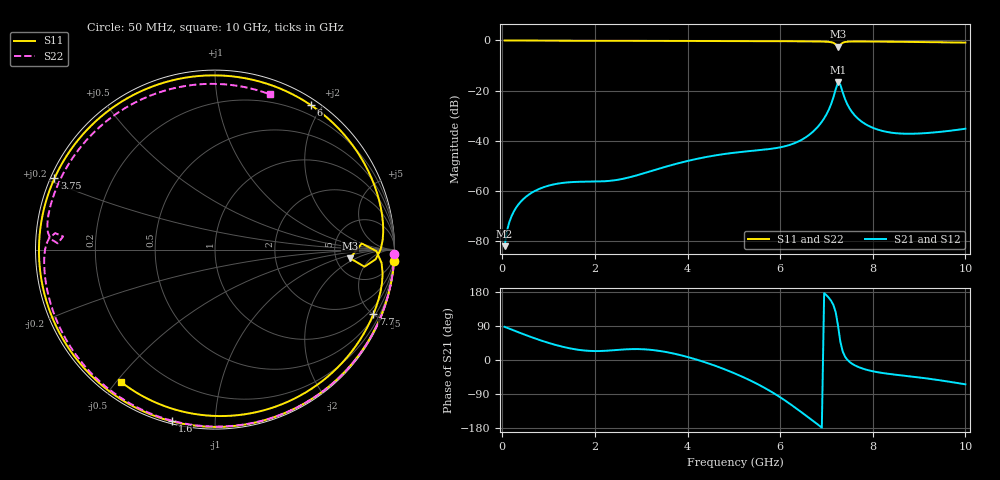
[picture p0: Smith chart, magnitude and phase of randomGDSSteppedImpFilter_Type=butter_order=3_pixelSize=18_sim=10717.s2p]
! freq	dB(S11)	phase(S11)	dB(S12)	phase(S12)
!  dB(S21)	phase(S21)	dB(S22)	phase(S22)
!S-par simulation data
#  GHz  S  DB  R 50
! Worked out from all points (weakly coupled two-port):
!   200 points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, 50 MHz to 10 GHz, reference 50 ohm
!   highest |S21| = -16.70 dB at 7.25 GHz (marker M1); lowest = -82.0 dB at 50 MHz (marker M2)
!   lowest |S11| = -2.5 dB at 7.25 GHz (marker M3), VSWR 7.11, Z = 339 - j75.2 ohm
!   |S11| at or under -10 dB: nowhere
!   |S22| runs from -1.4 to 0.0 dB; largest |S21 - S12| = 0
!   S11 on the Smith chart (normalised r, x): 50 MHz: 0, -32; 1.6 GHz: 0.01, -0.78; 3.75 GHz: 0.01, +0.21; 6 GHz: 0.08, +1.87; 7.7 GHz: 0.64, -5.03; 10 GHz: 0.06, -0.52
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0.05  -0.00 -3.6  -81.97 87.5  -81.97 87.5  -0.00 -1.3
0.2  -0.02 -14.4  -70.00 80.3  -70.00 80.3  -0.01 -5.2
0.5  -0.05 -35.4  -62.46 66.1  -62.46 66.1  -0.02 -13.0
1.05  -0.09 -71.7  -57.61 43.3  -57.61 43.3  -0.03 -27.2
1.6  -0.12 -104.1  -56.35 27.7  -56.35 27.7  -0.05 -41.3
1.75  -0.12 -112.3  -56.28 25.3  -56.28 25.3  -0.06 -45.0
2.55  -0.15 -151.8  -55.33 27.2  -55.33 27.2  -0.08 -65.0
3.4  -0.18 170.9  -51.00 23.9  -51.00 23.9  -0.11 -85.8
3.75  -0.19 156.0  -49.18 15.6  -49.18 15.6  -0.13 -94.2
4.45  -0.22 126.3  -46.27 -8.9  -46.27 -8.9  -0.16 -111.2
5.05  -0.25 100.1  -44.64 -37.0  -44.64 -37.0  -0.20 -125.8
6  -0.30 56.3  -42.58 -98.2  -42.58 -98.2  -0.27 -149.8
6.7  -0.38 22.1  -36.50 -159.7  -36.50 -159.7  -0.35 -169.0
7  -0.51 6.2  -29.46 170.8  -29.46 170.8  -0.44 -178.4
7.2  -1.53 -6.5  -19.40 125.8  -19.40 125.8  -0.97 174.1
7.25  -2.46 -3.7  -16.70 90.3  -16.70 90.3  -1.42 175.0
7.3  -1.74 2.4  -17.65 48.1  -17.65 48.1  -1.15 177.7
7.4  -0.62 -4.6  -23.31 9.1  -23.31 9.1  -0.57 174.0
7.7  -0.42 -22.1  -31.47 -19.0  -31.47 -19.0  -0.46 162.9
8.35  -0.50 -53.1  -36.60 -36.7  -36.60 -36.7  -0.53 140.1
9.15  -0.65 -88.6  -36.91 -48.3  -36.91 -48.3  -0.64 108.7
10  -0.87 -125.3  -35.17 -64.2  -35.17 -64.2  -0.75 70.6
